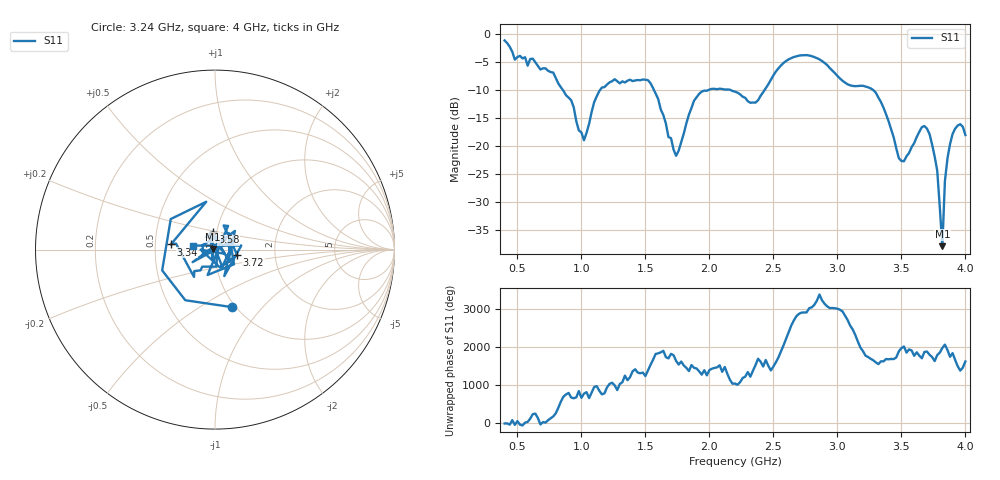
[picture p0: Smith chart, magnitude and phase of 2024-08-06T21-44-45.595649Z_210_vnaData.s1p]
!Created with skrf (http://scikit-rf.org).
# Hz S RI R 50.0
!freq ReS11 ImS11
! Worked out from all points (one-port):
!   181 points, 400 MHz to 4 GHz, reference 50 ohm
!   lowest |S11| = -37.9 dB at 3.82 GHz (marker M1), VSWR 1.03, Z = 48.8 + j0.316 ohm
!   |S11| at or under -10 dB: 855.3 MHz to 1.146 GHz (290.3 MHz wide, 29 % of centre); 1.567 GHz to 1.993 GHz (426 MHz wide, 23.9 % of centre); 3.28 GHz to end of sweep (the widest 3 of 4)
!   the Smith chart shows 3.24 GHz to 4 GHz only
!   S11 on the Smith chart (normalised r, x): 3.24 GHz: 0.96, -0.70; 3.34 GHz: 0.60, +0.04; 3.58 GHz: 0.96, +0.19; 3.72 GHz: 1.28, -0.08; 4 GHz: 0.78, +0.04
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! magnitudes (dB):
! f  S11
! 400 MHz  -1.1
! 480 MHz  -4.6
! 860 MHz  -10.1
! 1.02 GHz  -19.0
! 1.14 GHz  -10.2
! 1.3 GHz  -8.8
! 1.52 GHz  -8.2
! 1.74 GHz  -21.8
! 1.76 GHz  -20.8
! 1.92 GHz  -10.7
! 2.2 GHz  -10.3
! 2.36 GHz  -12.3
! 2.66 GHz  -4.1
! 2.86 GHz  -4.5
! 3.1 GHz  -9.2
! 3.24 GHz  -9.5
! 3.34 GHz  -12.1
! 3.48 GHz  -22.2
! 3.56 GHz  -21.3
! 3.58 GHz  -20.2
! 3.66 GHz  -16.6
! 3.72 GHz  -17.9
! 3.78 GHz  -24.4
! 3.82 GHz  -37.9
! 3.84 GHz  -26.3
! 3.88 GHz  -19.7
! 3.94 GHz  -16.4
! 4 GHz  -18.0
